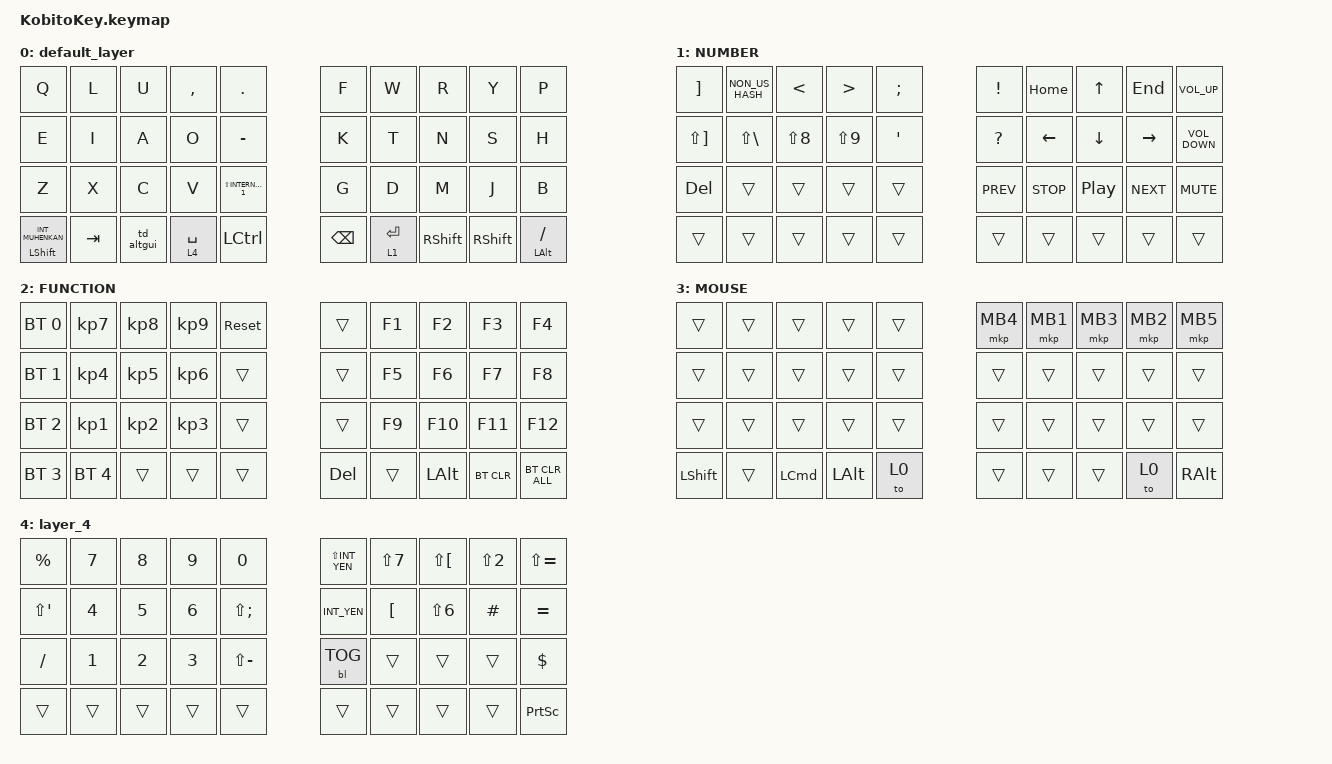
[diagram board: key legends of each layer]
#include <input/processors.dtsi>
#include <behaviors.dtsi>
#include <dt-bindings/zmk/backlight.h>
#include <dt-bindings/zmk/bt.h>
#include <dt-bindings/zmk/keys.h>
#include <dt-bindings/zmk/pointing.h>

/ {
    combos {
        compatible = "zmk,combos";

        combo_eisu {
            timeout-ms = <50>;
            key-positions = <12 13>;
            bindings = <&kp LANG2>;
        };

        combo_kana {
            timeout-ms = <50>;
            key-positions = <16 17>;
            bindings = <&kp LANG1>;
        };

        combo_esc {
            timeout-ms = <50>;
            key-positions = <0 1>;
            bindings = <&kp ESC>;
        };

        combo_tab {
            timeout-ms = <50>;
            key-positions = <2 3>;
            bindings = <&kp TAB>;
        };

        toggle_0and2 {
            bindings = <&tog 2>;
            key-positions = <5 9>;
        };
    };

    behaviors {
        td_altgui: td_altgui {
            compatible = "zmk,behavior-tap-dance";
            #binding-cells = <0>;
            tapping-term-ms = <200>;
            bindings = <&kp LALT>, <&kp LGUI>;
        };
    };

    keymap {
        compatible = "zmk,keymap";

        default_layer {
            bindings = <
&kp Q                        &kp L    &kp U       &kp COMMA    &kp DOT                  &kp F     &kp W        &kp R      &kp Y            &kp P
&kp E                        &kp I    &kp A       &kp O        &kp MINUS                &kp K     &kp T        &kp N      &kp S            &kp H
&kp Z                        &kp X    &kp C       &kp V        &kp LS(INTERNATIONAL_1)  &kp G     &kp D        &kp M      &kp J            &kp B
&mt LEFT_SHIFT INT_MUHENKAN  &kp TAB  &td_altgui  &lt 4 SPACE  &kp LCTRL                &kp BSPC  &lt 1 ENTER  &kp RSHFT  &kp RIGHT_SHIFT  &mt LALT SLASH
            >;
        };

        layer1 {
            label = "NUMBER";
            bindings = <
&kp RBKT      &kp NON_US_HASH  &kp LESS_THAN  &kp GREATER_THAN  &kp SEMI  &kp EXCLAMATION  &kp HOME    &kp UP            &kp END     &kp C_VOLUME_UP
&kp LS(RBKT)  &kp LS(BSLH)     &kp LS(N8)     &kp LS(N9)        &kp SQT   &kp QUESTION     &kp LEFT    &kp DOWN          &kp RIGHT   &kp C_VOLUME_DOWN
&kp DELETE    &trans           &trans         &trans            &trans    &kp C_PREV       &kp C_STOP  &kp C_PLAY_PAUSE  &kp C_NEXT  &kp C_MUTE
&trans        &trans           &trans         &trans            &trans    &trans           &trans      &trans            &trans      &trans
            >;
        };

        layer2 {
            label = "FUNCTION";
            bindings = <
&bt BT_SEL 0  &kp KP_NUMBER_7  &kp KP_N8  &kp KP_NUMBER_9  &sys_reset  &trans   &kp F1  &kp F2        &kp F3      &kp F4
&bt BT_SEL 1  &kp KP_N4        &kp KP_N5  &kp KP_N6        &trans      &trans   &kp F5  &kp F6        &kp F7      &kp F8
&bt BT_SEL 2  &kp KP_NUMBER_1  &kp KP_N2  &kp KP_N3        &trans      &trans   &kp F9  &kp F10       &kp F11     &kp F12
&bt BT_SEL 3  &bt BT_SEL 4     &trans     &trans           &trans      &kp DEL  &trans  &kp LEFT_ALT  &bt BT_CLR  &bt BT_CLR_ALL
            >;
        };

        layer3 {
            label = "MOUSE";
            bindings = <
&trans     &trans  &trans    &trans    &trans  &mkp MB4  &mkp MB1  &mkp MB3  &mkp MB2  &mkp MB5
&trans     &trans  &trans    &trans    &trans  &trans    &trans    &trans    &trans    &trans
&trans     &trans  &trans    &trans    &trans  &trans    &trans    &trans    &trans    &trans
&kp LSHFT  &trans  &kp LCMD  &kp LALT  &to 0   &trans    &trans    &trans    &to 0     &kp RALT
            >;
        };

        layer_4 {
            bindings = <
&kp PERCENT  &kp N7  &kp N8  &kp N9  &kp N0             &kp LS(INT_YEN)  &kp LS(N7)  &kp LS(LBKT)  &kp LS(N2)  &kp LS(EQUAL)
&kp LS(SQT)  &kp N4  &kp N5  &kp N6  &kp LS(SEMICOLON)  &kp INT_YEN      &kp LBKT    &kp LS(N6)    &kp HASH    &kp EQUAL
&kp SLASH    &kp N1  &kp N2  &kp N3  &kp LS(MINUS)      &bl BL_TOG       &trans      &trans        &trans      &kp DOLLAR
&trans       &trans  &trans  &trans  &trans             &trans           &trans      &trans        &trans      &kp PRINTSCREEN
            >;
        };
    };
};
